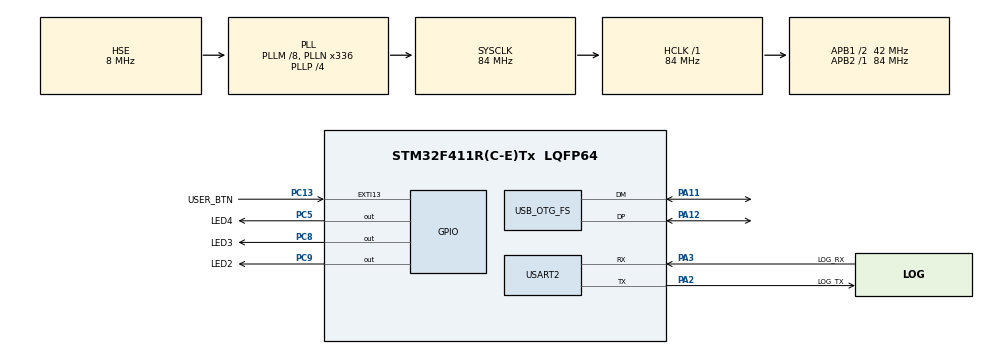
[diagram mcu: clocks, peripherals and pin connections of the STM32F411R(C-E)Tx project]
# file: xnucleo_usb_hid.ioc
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Mcu.Family=STM32F4
Mcu.Name=STM32F411R(C-E)Tx
Mcu.Package=LQFP64
NVIC.EXTI15_10_IRQn=true\:0\:0\:false\:false\:true\:true\:true
NVIC.OTG_FS_IRQn=true\:0\:0\:false\:false\:true\:false\:true
NVIC.PriorityGroup=NVIC_PRIORITYGROUP_4
PA11.Mode=Device_Only
PA11.Signal=USB_OTG_FS_DM
PA12.Mode=Device_Only
PA12.Signal=USB_OTG_FS_DP
PA2.GPIO_Label=LOG_TX
PA2.Mode=Asynchronous
PA2.Signal=USART2_TX
PA3.GPIO_Label=LOG_RX
PA3.Mode=Asynchronous
PA3.Signal=USART2_RX
PC13-ANTI_TAMP.GPIO_Label=USER_BTN
PC13-ANTI_TAMP.GPIO_ModeDefaultEXTI=GPIO_MODE_IT_FALLING
PC13-ANTI_TAMP.Signal=GPXTI13
PC14-OSC32_IN.Mode=LSE-External-Oscillator
PC14-OSC32_IN.Signal=RCC_OSC32_IN
PC15-OSC32_OUT.Mode=LSE-External-Oscillator
PC15-OSC32_OUT.Signal=RCC_OSC32_OUT
PC5.GPIO_Label=LED4
PC5.Signal=GPIO_Output
PC8.GPIO_Label=LED3
PC8.Signal=GPIO_Output
PC9.GPIO_Label=LED2
PC9.Signal=GPIO_Output
PH0\ -\ OSC_IN.Mode=HSE-External-Oscillator
PH0\ -\ OSC_IN.Signal=RCC_OSC_IN
PH1\ -\ OSC_OUT.Mode=HSE-External-Oscillator
PH1\ -\ OSC_OUT.Signal=RCC_OSC_OUT
ProjectManager.HeapSize=0x200
ProjectManager.StackSize=0x400
ProjectManager.TargetToolchain=MDK-ARM V5.27
RCC.48MHZClocksFreq_Value=48000000
RCC.AHBFreq_Value=84000000
RCC.APB1CLKDivider=RCC_HCLK_DIV2
RCC.APB1Freq_Value=42000000
RCC.APB1TimFreq_Value=84000000
RCC.APB2Freq_Value=84000000
RCC.APB2TimFreq_Value=84000000
RCC.CortexFreq_Value=84000000
RCC.HCLKFreq_Value=84000000
RCC.HSE_VALUE=8000000
RCC.HSI_VALUE=16000000
RCC.PLLM=8
RCC.PLLN=336
RCC.PLLP=RCC_PLLP_DIV4
RCC.PLLQ=7
RCC.SYSCLKFreq_VALUE=84000000
RCC.SYSCLKSource=RCC_SYSCLKSOURCE_PLLCLK
RCC.VCOOutputFreq_Value=336000000
USART2.VirtualMode=VM_ASYNC
USB_DEVICE.CLASS_NAME_FS=CUSTOM_HID
USB_DEVICE.VirtualMode=CustomHid
USB_DEVICE.VirtualModeFS=Custom_Hid_FS
USB_OTG_FS.VirtualMode=Device_Only
VP_USB_DEVICE_VS_USB_DEVICE_CUSTOM_HID_FS.Mode=CUSTOM_HID_FS
board=custom

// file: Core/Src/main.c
/* USER CODE BEGIN Header */
/**
  ******************************************************************************
  * @file           : main.c
  * @brief          : Main program body
  ******************************************************************************
  * @attention
  *
  * <h2><center>&copy; Copyright (c) 2020 STMicroelectronics.
  * All rights reserved.</center></h2>
  *
  * This software component is licensed by ST under Ultimate Liberty license
  * SLA0044, the "License"; You may not use this file except in compliance with
  * the License. You may obtain a copy of the License at:
  *                             www.st.com/SLA0044
  *
  ******************************************************************************
  */
/* USER CODE END Header */
#include "main.h"
#include "usart.h"
#include "usb_device.h"
#include "gpio.h"

/* USER CODE BEGIN Includes */

#include "usbd_custom_hid_if.h"
/* USER CODE END Includes */

/* USER CODE BEGIN PV */

uint8_t buf[3] ;
extern USBD_HandleTypeDef hUsbDeviceFS;

/* USER CODE END PV */

void SystemClock_Config(void);

/* USER CODE BEGIN 0 */

int fputc(int32_t ch, FILE *f)
{
	while((USART2->SR&0X40)==0);
	USART2->DR = (uint8_t) ch;
	return ch;
}
uint8_t send_data[128] ,result , i;
void HAL_GPIO_EXTI_Callback(uint16_t GPIO_Pin)
{
	switch(GPIO_Pin)
	{
		case GPIO_PIN_13:

		// assign Report ID
		send_data[0]=0x02;
		for(i=1;i<9;i++)
		{
			send_data[i]=0x01;
		}

		result = USBD_CUSTOM_HID_SendReport_FS(send_data,9) ;
		if(result !=USBD_OK)
		{

			printf("USB Fail result = %x\n\r",result);
		}
		break;
	}
}

/* USER CODE END 0 */

int main(void)
{

  /* MCU Configuration--------------------------------------------------------*/

  /* Reset of all peripherals, Initializes the Flash interface and the Systick. */
  HAL_Init();

  /* Configure the system clock */
  SystemClock_Config();

  /* Initialize all configured peripherals */
  MX_GPIO_Init();
  MX_USART2_UART_Init();
  MX_USB_DEVICE_Init();
  /* USER CODE BEGIN 2 */
	printf("USB HID222 \n\r");
  /* USER CODE END 2 */

  /* Infinite loop */
  /* USER CODE BEGIN WHILE */
  while (1)
  {

		HAL_Delay(10);
		HAL_GPIO_TogglePin(GPIOC,GPIO_PIN_9);
		HAL_Delay(10);

    /* USER CODE END WHILE */

  }
}

void SystemClock_Config(void)
{
  RCC_OscInitTypeDef RCC_OscInitStruct = {0};
  RCC_ClkInitTypeDef RCC_ClkInitStruct = {0};

  /** Configure the main internal regulator output voltage
  */
  __HAL_RCC_PWR_CLK_ENABLE();
  __HAL_PWR_VOLTAGESCALING_CONFIG(PWR_REGULATOR_VOLTAGE_SCALE1);
  /** Initializes the RCC Oscillators according to the specified parameters
  * in the RCC_OscInitTypeDef structure.
  */
  RCC_OscInitStruct.OscillatorType = RCC_OSCILLATORTYPE_HSE;
  RCC_OscInitStruct.HSEState = RCC_HSE_ON;
  RCC_OscInitStruct.PLL.PLLState = RCC_PLL_ON;
  RCC_OscInitStruct.PLL.PLLSource = RCC_PLLSOURCE_HSE;
  RCC_OscInitStruct.PLL.PLLM = 8;
  RCC_OscInitStruct.PLL.PLLN = 336;
  RCC_OscInitStruct.PLL.PLLP = RCC_PLLP_DIV4;
  RCC_OscInitStruct.PLL.PLLQ = 7;
  if (HAL_RCC_OscConfig(&RCC_OscInitStruct) != HAL_OK)
  {
    Error_Handler();
  }
  /** Initializes the CPU, AHB and APB buses clocks
  */
  RCC_ClkInitStruct.ClockType = RCC_CLOCKTYPE_HCLK|RCC_CLOCKTYPE_SYSCLK
                              |RCC_CLOCKTYPE_PCLK1|RCC_CLOCKTYPE_PCLK2;
  RCC_ClkInitStruct.SYSCLKSource = RCC_SYSCLKSOURCE_PLLCLK;
  RCC_ClkInitStruct.AHBCLKDivider = RCC_SYSCLK_DIV1;
  RCC_ClkInitStruct.APB1CLKDivider = RCC_HCLK_DIV2;
  RCC_ClkInitStruct.APB2CLKDivider = RCC_HCLK_DIV1;

  if (HAL_RCC_ClockConfig(&RCC_ClkInitStruct, FLASH_LATENCY_2) != HAL_OK)
  {
    Error_Handler();
  }
}

void Error_Handler(void)
{
  __disable_irq();
  while (1)
  {
  }
}

/************************ (C) COPYRIGHT STMicroelectronics *****END OF FILE****/
